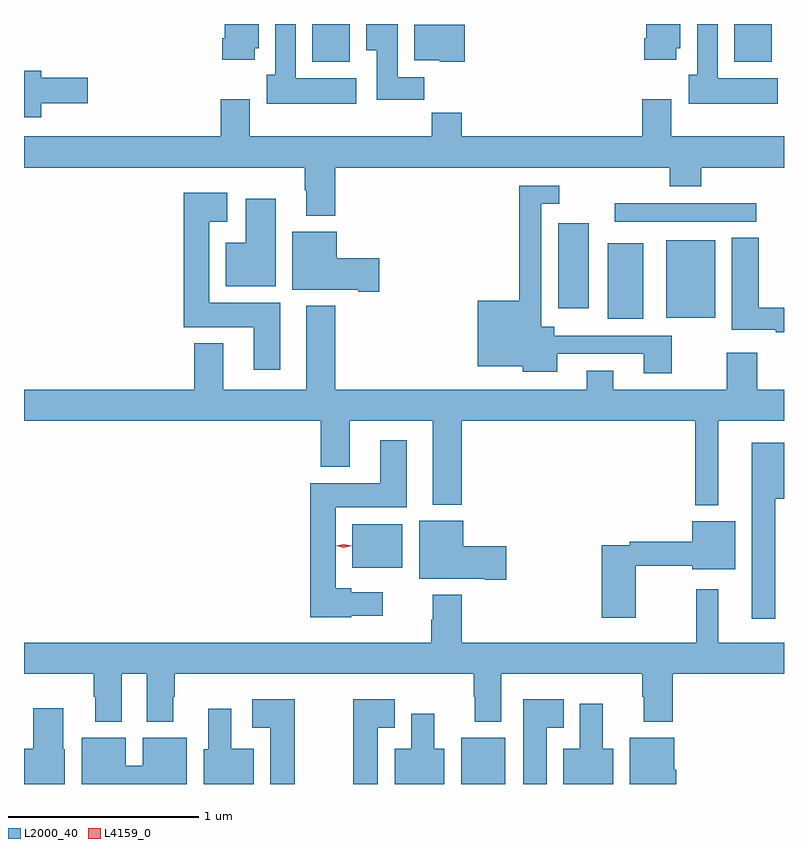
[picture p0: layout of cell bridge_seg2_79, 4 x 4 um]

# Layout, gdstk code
import gdstk
lib = gdstk.Library(unit=1e-6, precision=1e-09)
def R(c, l, rs):  # rectangles x0, y0, x1, y1
    for r in rs: c.add(gdstk.rectangle(r[:2], r[2:], *l))
def P(c, l, *ps):  # polygons
    for p in ps: c.add(gdstk.Polygon(p, *l))
L2000_40 = (2000, 40)
L4159_0 = (4159, 0)

bridge_seg2_79 = lib.new_cell('bridge_seg2_79')
R(bridge_seg2_79, L2000_40, [(363.725,645.724,363.958,645.967), (363.152,646.862,363.415,647.092), (364.496,648.173,364.684,648.571), (364.805,648.179,365.062,648.586), (364.235,648.228,364.396,648.676), (364.533,648.684,365.278,648.78), (362.942,649.526,363.139,649.724), (365.162,649.526,365.359,649.724)])
P(bridge_seg2_79, L2000_40, [(365.392,649.438),(365.074,649.438),(365.074,649.724),(364.967,649.724),(364.967,649.458),(364.922,649.458),(364.922,649.304),(365.392,649.304)],
  [(363.172,649.438),(362.854,649.438),(362.854,649.724),(362.747,649.724),(362.747,649.458),(362.702,649.458),(362.702,649.304),(363.172,649.304)],
  [(364.858,649.596),(364.879,649.596),(364.879,649.724),(364.7,649.724),(364.7,649.648),(364.688,649.648),(364.688,649.536),(364.858,649.536)],
  [(363.53,649.444),(363.391,649.444),(363.391,649.724),(363.224,649.724),(363.224,649.585),(363.281,649.585),(363.281,649.326),(363.53,649.326)],
  [(362.638,649.596),(362.659,649.596),(362.659,649.724),(362.48,649.724),(362.48,649.648),(362.468,649.648),(362.468,649.536),(362.638,649.536)],
  [(363.743,649.72),(363.479,649.72),(363.479,649.532),(363.612,649.532),(363.612,649.526),(363.743,649.526)],
  [(361.516,649.307),(361.759,649.307),(361.759,649.442),(361.516,649.442),(361.516,649.477),(361.424,649.477),(361.424,649.232),(361.516,649.232)],
  [(363.062,648.968),(364.823,648.968),(364.823,648.869),(364.988,648.869),(364.988,648.968),(365.424,648.968),(365.424,649.132),(364.831,649.132),(364.831,649.327),(364.679,649.327),(364.679,649.132),(363.728,649.132),(363.728,649.256),(363.571,649.256),(363.571,649.132),(362.611,649.132),(362.611,649.327),(362.459,649.327),(362.459,649.132),(361.424,649.132),(361.424,648.968),(362.902,648.968),(362.902,648.848),(362.909,648.848),(362.909,648.716),(363.062,648.716)],
  [(364.833,648.084),(364.216,648.084),(364.216,648.13),(364.146,648.13),(364.146,648.777),(364.24,648.777),(364.24,648.873),(364.03,648.873),(364.03,648.268),(363.812,648.268),(363.812,647.924),(364.049,647.924),(364.049,647.894),(364.231,647.894),(364.231,647.988),(364.685,647.988),(364.685,647.886),(364.833,647.886)],
  [(362.773,648.256),(362.398,648.256),(362.398,648.683),(362.494,648.683),(362.494,648.835),(362.264,648.835),(362.264,648.128),(362.633,648.128),(362.633,647.904),(362.773,647.904)],
  [(362.749,648.805),(362.591,648.805),(362.591,648.574),(362.486,648.574),(362.486,648.344),(362.749,648.344)],
  [(363.295,648.492),(363.07,648.492),(363.07,648.631),(362.837,648.631),(362.837,648.326),(363.182,648.326),(363.182,648.314),(363.295,648.314)],
  [(365.424,648.23),(365.292,648.23),(365.292,648.599),(365.15,648.599),(365.15,648.114),(365.38,648.114),(365.38,648.102),(365.424,648.102)],
  [(365.077,647.636),(365.424,647.636),(365.424,647.8),(365.282,647.8),(365.282,647.995),(365.122,647.995),(365.122,647.8),(364.525,647.8),(364.525,647.899),(364.385,647.899),(364.385,647.8),(363.062,647.8),(363.062,648.241),(362.909,648.241),(362.909,647.8),(362.473,647.8),(362.473,648.043),(362.321,648.043),(362.321,647.8),(361.424,647.8),(361.424,647.636),(362.987,647.636),(362.987,647.393),(363.139,647.393),(363.139,647.636),(363.575,647.636),(363.575,647.195),(363.728,647.195),(363.728,647.636),(364.956,647.636),(364.956,647.192),(365.077,647.192)],
  [(363.147,646.61),(363.313,646.61),(363.313,646.732),(363.147,646.732),(363.147,646.753),(363.064,646.753),(363.064,647.18),(363.439,647.18),(363.439,647.533),(363.299,647.533),(363.299,647.308),(362.93,647.308),(362.93,646.601),(363.147,646.601)],
  [(365.377,647.225),(365.424,647.225),(365.424,647.521),(365.255,647.521),(365.255,646.593),(365.377,646.593)],
  [(363.961,646.976),(363.736,646.976),(363.736,647.11),(363.503,647.11),(363.503,646.805),(363.848,646.805),(363.848,646.798),(363.961,646.798)],
  [(364.644,646.872),(364.94,646.872),(364.94,646.853),(365.167,646.853),(365.167,647.107),(364.94,647.107),(364.94,647),(364.612,647),(364.612,646.98),(364.466,646.98),(364.466,646.599),(364.644,646.599)],
  [(365.424,646.468),(365.077,646.468),(365.077,646.75),(364.963,646.75),(364.963,646.468),(363.728,646.468),(363.728,646.72),(363.575,646.72),(363.575,646.589),(363.568,646.589),(363.568,646.468),(361.424,646.468),(361.424,646.304),(361.792,646.304),(361.792,646.184),(361.799,646.184),(361.799,646.052),(361.939,646.052),(361.939,646.304),(362.069,646.304),(362.069,646.052),(362.209,646.052),(362.209,646.184),(362.217,646.184),(362.217,646.304),(363.79,646.304),(363.79,646.184),(363.797,646.184),(363.797,646.052),(363.937,646.052),(363.937,646.304),(364.678,646.304),(364.678,646.184),(364.685,646.184),(364.685,646.052),(364.838,646.052),(364.838,646.304),(365.424,646.304)],
  [(363.286,646.019),(363.376,646.019),(363.376,646.171),(363.157,646.171),(363.157,645.724),(363.286,645.724)],
  [(364.174,646.019),(364.264,646.019),(364.264,646.171),(364.052,646.171),(364.052,645.724),(364.174,645.724)],
  [(362.85,646.171),(362.625,646.171),(362.625,646.019),(362.72,646.019),(362.72,645.724),(362.85,645.724)],
  [(364.525,645.91),(364.471,645.91),(364.471,646.147),(364.349,646.147),(364.349,645.91),(364.262,645.91),(364.262,645.724),(364.525,645.724)],
  [(361.639,645.906),(361.63,645.906),(361.63,646.123),(361.472,646.123),(361.472,645.91),(361.424,645.91),(361.424,645.724),(361.639,645.724)],
  [(362.632,645.91),(362.515,645.91),(362.515,646.12),(362.393,646.12),(362.393,645.906),(362.369,645.906),(362.369,645.724),(362.632,645.724)],
  [(363.637,645.91),(363.583,645.91),(363.583,646.093),(363.461,646.093),(363.461,645.91),(363.374,645.91),(363.374,645.724),(363.637,645.724)],
  [(362.281,645.967),(362.048,645.967),(362.048,645.819),(361.96,645.819),(361.96,645.967),(361.727,645.967),(361.727,645.724),(362.281,645.724)],
  [(364.858,645.798),(364.846,645.798),(364.846,645.967),(364.613,645.967),(364.613,645.724),(364.858,645.724)])
P(bridge_seg2_79, L4159_0, [(363.108,646.967),(363.067,646.977),(363.066,646.977),(363.067,646.977),(363.108,646.987),(363.148,646.977),(363.148,646.977),(363.148,646.977)])

lib.write_gds('bridge_seg2_79.gds')
